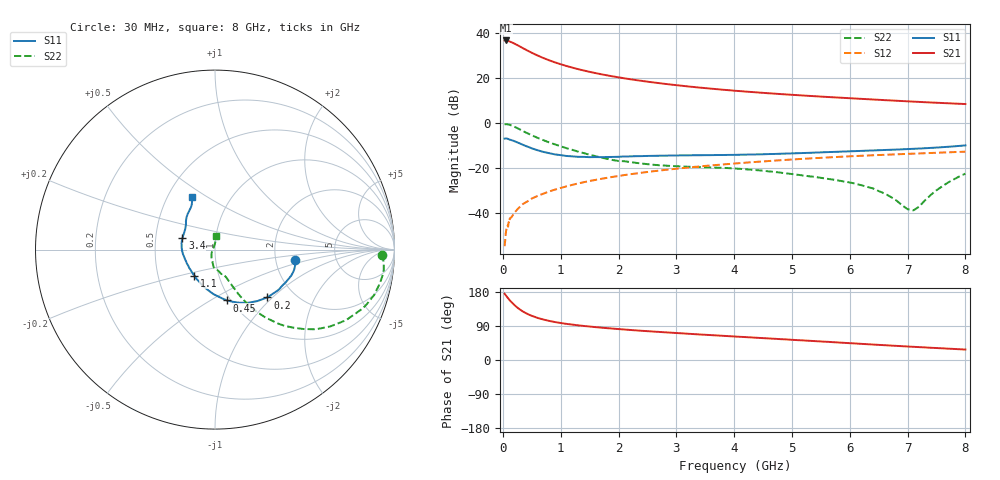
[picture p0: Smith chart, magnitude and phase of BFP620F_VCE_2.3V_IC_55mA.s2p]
! Infineon Technologies  Discrete & RF Semiconductors
! BFP620F
! VCE =  2.3 V,  IC =  55 mA
! Common Emitter S-Parameters:  Dec 2014
# GHz  S  MA  R  50
!  f  S11  S21  S12  S22
! GHz  MAG  ANG  MAG  ANG  MAG  ANG  MAG  ANG
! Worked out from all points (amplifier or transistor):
!   95 points, 30 MHz to 8 GHz, reference 50 ohm
!   highest |S21| = 36.9 dB at 50 MHz (marker M1)
!   |S21| within 3 dB of that: start of sweep to 316.5 MHz
!   unconditionally stable (mu >= 1): 1.815 GHz to end of sweep
!   at 300 MHz: K = 0.52, MSG = 35.7 dB, |S12| = -37.2 dB
!   at 3.3 GHz: K = 1.03, MAG = 16.7 dB, |S12| = -19.6 dB
!   at 8 GHz: K = 1.05, MAG = 9.2 dB, |S12| = -12.8 dB
!   S11 on the Smith chart (normalised r, x): 30 MHz: 2.57, -0.38; 200 MHz: 1.47, -0.93; 450 MHz: 0.96, -0.60; 1.1 GHz: 0.76, -0.23; 3.4 GHz: 0.69, +0.09; 8 GHz: 0.66, +0.43
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0.03  0.4506 -7.6  69.63 174.8  0.0018 96.2  0.9307 -1.7
0.05  0.4552 -11.9  69.69 170.8  0.0035 89.3  0.9444 -5.4
0.08  0.4485 -19.0  68.7 164.8  0.0052 82.2  0.9393 -11.0
0.12  0.4271 -27.2  65.82 157.5  0.0075 83.9  0.9117 -17.5
0.15  0.417 -33.1  63.66 152.6  0.008 81.1  0.8852 -21.8
0.2  0.3952 -42.4  59.25 145.0  0.01 75.3  0.8295 -28.3
0.25  0.3712 -50.6  54.95 138.3  0.0119 74.4  0.7718 -33.7
0.3  0.3493 -58.0  50.7 132.6  0.0138 75.1  0.7164 -38.3
0.35  0.3266 -65.1  46.67 127.7  0.0158 73.0  0.6626 -41.9
0.45  0.2911 -76.7  39.94 119.8  0.0187 71.8  0.5739 -47.7
0.6  0.2482 -92.0  32.17 111.1  0.0237 71.3  0.4688 -53.5
0.7  0.2278 -100.4  28.32 106.8  0.0267 71.2  0.416 -56.2
0.9  0.2005 -115.3  22.65 100.2  0.0328 71.3  0.3349 -59.9
1.1  0.1848 -128.4  18.77 95.3  0.0389 70.8  0.276 -62.4
1.4  0.1764 -144.6  14.89 89.8  0.0481 70.1  0.2138 -65.0
2  0.1773 -168.4  10.48 81.6  0.0661 67.7  0.1429 -71.9
2.7  0.1872 174.1  7.786 74.1  0.0873 64.0  0.1151 -83.1
3.4  0.1919 160.9  6.203 67.4  0.1077 60.0  0.1047 -90.8
4.1  0.197 150.2  5.168 61.2  0.1282 55.8  0.0956 -94.8
5.4  0.22 137.3  3.974 49.8  0.1654 47.3  0.0629 -104.7
6.7  0.2539 125.8  3.205 38.2  0.1987 38.1  0.0229 -139.8
8  0.318 113.9  2.662 27.5  0.2303 29.3  0.0746 84.1
